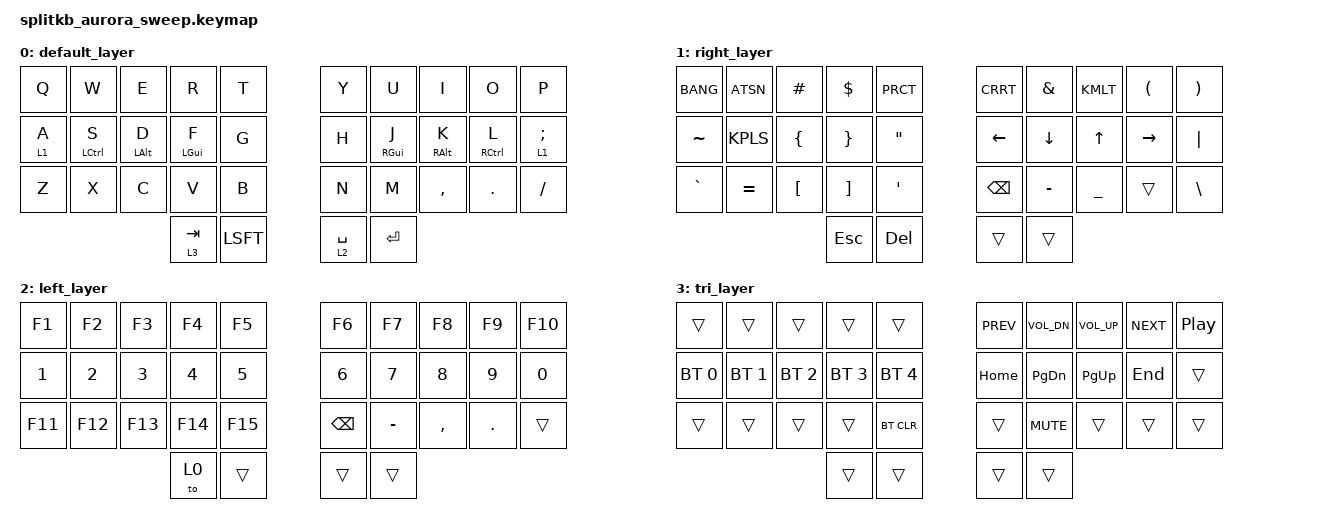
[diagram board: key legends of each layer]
/*
 * Copyright (c) 2022 The ZMK Contributors
 *
 * SPDX-License-Identifier: MIT
 */


// This is a devicetree file.  The Zephyr OS documentation has pretty good
// documentation for what's going on here.
//
// See https://docs.zephyrproject.org/latest/build/dts/intro.html

#include <behaviors.dtsi>
#include <dt-bindings/zmk/keys.h>
#include <dt-bindings/zmk/bt.h>

// This is a devicetree overlay.  It's a way to change the properties of a
// devicetree node that is defined elsewhere.
//
// Here `mt` is the alias for a devicetree node that defines the mod-tap
// behaviour. That node is defined somewhere else so we can't update it
// directly, so instead we use an overlay.
//
// The `&` gets a reference to `mt` called a "phandle", similar to how it's
// used in C to get a pointer to a variable.
//
// See https://docs.zephyrproject.org/latest/build/dts/howtos.html#use-devicetree-overlays
//
&mt {
    flavor = "balanced";
    quick-tap-ms = <180>;
    tapping-term-ms = <300>;
};


// This is the devicetree where we define our keymaps.
//
// The key property in each keymap is `bindings`.  This is an array of phrases.
// The first item in the phrase is a "phandle" that refers to a key behaviour
// defined somewhere else in the larger tree.  The phandles all start with `&`.
// The phandle is followed by a number of properties that we give the behaviour.
// The behaviour node defines how many properties are required by that particular
// behaviour.

/ {

    keymap {
        compatible = "zmk,keymap";

// ╭─────┬─────┬─────┬─────┬─────╮   ╭─────┬─────┬─────┬─────┬─────╮
// │  Q  │  W  │  E  │  R  │  T  │   │  Y  │  U  │  I  │  O  │  P  │
// ├─────┼─────┼─────┼─────┼─────┤   ├─────┼─────┼─────┼─────┼─────┤
// │  A  │  S  │  D  │  F  │  G  │   │  H  │  J  │  K  │  L  │ ; : │
// │ Lay1│ Ctl │ Alt │ Cmd │     │   │     │ Cmd │ Alt │ Ctl │ Lay1│
// ├─────┼─────┼─────┼─────┼─────┤   ├─────┼─────┼─────┼─────┼─────┤
// │  Z  │  X  │  C  │  V  │  B  │   │  N  │  M  │ , < │ . > │ / ? │
// ╰─────┴─────┴─────┼─────┼─────┤   ├─────┼─────┼─────┴─────┴─────╯
//                   │ Tab │ Shft│   │ Spc │ Ent │
//                   │ Lay3│     │   │ Lay2│     │
//                   ╰─────┴─────╯   ╰─────┴─────╯

        default_layer {
        bindings = <

        &kp Q    &kp W       &kp E       &kp R       &kp T         &kp Y         &kp U       &kp I       &kp O       &kp P
        &lt 1 A  &mt LCTL S  &mt LALT D  &mt LGUI F  &kp G         &kp H         &mt RGUI J  &mt RALT K  &mt RCTL L  &lt 1 SEMI
        &kp Z    &kp X       &kp C       &kp V       &kp B         &kp N         &kp M       &kp CMMA    &kp DOT     &kp SLASH
                                         &lt 3 TAB   &kp LSFT      &lt 2 SPC     &kp ENTER
        >;
        };

// ╭─────┬─────┬─────┬─────┬─────╮   ╭─────┬─────┬─────┬─────┬─────╮
// │  !  │  @  │  #  │  $  │  %  │   │  ^  │  &  │  *  │  (  │  )  │
// ├─────┼─────┼─────┼─────┼─────┤   ├─────┼─────┼─────┼─────┼─────┤
// │  ~  │  +  │  {  │  }  │  "  │   │  ←  │  ↓  │  ↑  │  →  │  |  │
// ├─────┼─────┼─────┼─────┼─────┤   ├─────┼─────┼─────┼─────┼─────┤
// │  `  │  =  │  [  │  ]  │  '  │   │ Bksp│  -  │  _  │     │  \  │
// ╰─────┴─────┴─────┼─────┼─────┤   ├─────┼─────┼─────┴─────┴─────╯
//                   │ Esc │ Del │   │     │     │
//                   ╰─────┴─────╯   ╰─────┴─────╯

        right_layer {
        bindings = <

        &kp BANG   &kp ATSN   &kp HASH  &kp DLLR  &kp PRCT    &kp CRRT  &kp AMPS   &kp KMLT   &kp LPRN   &kp RPRN
        &kp TILDE  &kp KPLS   &kp LBRC  &kp RBRC  &kp DQT     &kp LEFT  &kp DOWN   &kp UP     &kp RIGHT  &kp PIPE
        &kp GRAVE  &kp EQUAL  &kp LBKT  &kp RBKT  &kp SQT     &kp BKSP  &kp MINUS  &kp UNDER  &trans     &kp BSLH
                                        &kp ESC   &kp DEL     &trans    &trans
        >;
        };

// ╭─────┬─────┬─────┬─────┬─────╮   ╭─────┬─────┬─────┬─────┬─────╮
// │ F1  │ F2  │ F3  │ F4  │ F5  │   │ F6  │ F7  │ F8  │ F9  │ F10 │
// ├─────┼─────┼─────┼─────┼─────┤   ├─────┼─────┼─────┼─────┼─────┤
// │  1  │  2  │  3  │  4  │  5  │   │  6  │  7  │  8  │  9  │  0  │
// ├─────┼─────┼─────┼─────┼─────┤   ├─────┼─────┼─────┼─────┼─────┤
// │ F11 │ F12 │ F13 │ F14 │ F15 │   │ Bksp│  -  │  ,  │  .  │     │
// ╰─────┴─────┴─────┼─────┼─────┤   ├─────┼─────┼─────┴─────┴─────╯
//                   │ Lay0│     │   │     │     │
//                   ╰─────┴─────╯   ╰─────┴─────╯

        left_layer {
        bindings = <

        &kp F1     &kp F2     &kp F3     &kp F4     &kp F5       &kp F6     &kp F7     &kp F8     &kp F9     &kp F10
        &kp NUM_1  &kp NUM_2  &kp NUM_3  &kp NUM_4  &kp NUM_5    &kp NUM_6  &kp NUM_7  &kp NUM_8  &kp NUM_9  &kp NUM_0
        &kp F11    &kp F12    &kp F13    &kp F14    &kp F15      &kp BKSP   &kp MINUS  &kp CMMA   &kp DOT    &trans
                                         &to 0      &trans       &trans     &trans
        >;
        };

// ╭─────┬─────┬─────┬─────┬─────╮   ╭─────┬─────┬─────┬─────┬─────╮
// │     │     │     │     │     │   │ Prev│VolDn│VolUp│ Next│Pause│
// ├─────┼─────┼─────┼─────┼─────┤   ├─────┼─────┼─────┼─────┼─────┤
// │ BT1 │ BT2 │ BT3 │ BT4 │ BT5 │   │ Home│ PgDn│ PgUp│ End │     │
// ├─────┼─────┼─────┼─────┼─────┤   ├─────┼─────┼─────┼─────┼─────┤
// │     │     │     │     │BTClr│   │     │ Mute│     │     │     │
// ╰─────┴─────┴─────┼─────┼─────┤   ├─────┼─────┼─────┴─────┴─────╯
//                   │     │     │   │     │     │
//                   ╰─────┴─────╯   ╰─────┴─────╯

        tri_layer {
        bindings = <
        &trans        &trans        &trans        &trans        &trans          &kp C_PREV  &kp C_VOL_DN  &kp C_VOL_UP  &kp C_NEXT  &kp C_PLAY_PAUSE
        &bt BT_SEL 0  &bt BT_SEL 1  &bt BT_SEL 2  &bt BT_SEL 3  &bt BT_SEL 4    &kp HOME    &kp PG_DN     &kp PG_UP     &kp END     &trans
        &trans        &trans        &trans        &trans        &bt BT_CLR      &trans      &kp C_MUTE    &trans        &trans      &trans
                                                  &trans        &trans          &trans      &trans
        >;
        };

    };
};
